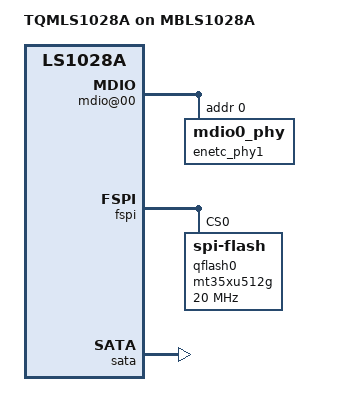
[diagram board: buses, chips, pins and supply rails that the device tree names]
/*
 * MBLS1028A with TQMLS1028a device tree source
 *
 * Copyright 2019 TQ Systems GmbH
 * Gregor Herburger <gregor.herburger@tq-group.com>
 *
 * SPDX-License-Identifier:	GPL-2.0+
 */

/dts-v1/;

#include "fsl-ls1028a.dtsi"

/ {
	model = "TQMLS1028A on MBLS1028A";
	compatible = "tqc,tqmls1028a", "fsl,ls1028a";
	aliases {
		spi0 = &fspi;
	};

	qixis: qixis {
		#address-cells=<0>;
		#size-cells=<1>;
	};
};

&fspi {
	bus-num = <0>;
	status = "okay";

	qflash0: mt35xu512g@0 {
		#address-cells = <1>;
		#size-cells = <1>;
		compatible = "spi-flash";
		spi-max-frequency = <20000000>; /* TODO Need to chk*/
		reg = <0>;
	 };
};

&enetc_pcie {
	ethernet@1 {
		phy-mode = "rgmii";
		phy-handle = <&enetc_phy1>;
	};
	netc_mdio0: netc_mdio {
		#address-cells=<0>;
		#size-cells=<1>;
	};
};

&qixis {
	mdio-mux@54 {
		#address-cells=<1>;
		#size-cells = <0>;
		reg = <0x54>;
		mux-mask = <0xf0>;
		mdio-parent-bus = <&netc_mdio0>;
		/* on-board RGMII PHY */
		mdio@00 {
			#address-cells = <1>;
			#size-cells = <0>;
			reg = <0x00>;
			enetc_phy1: mdio0_phy@0 {
				reg = <0>;
			};
		};
	};
};

&sata {
	status = "okay";
};
